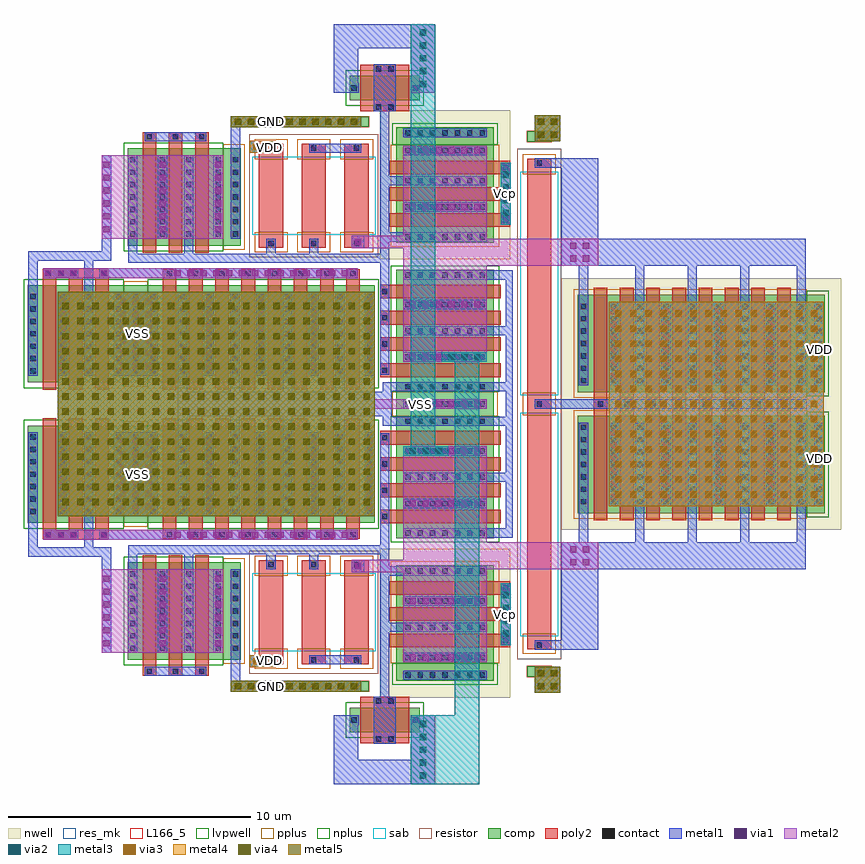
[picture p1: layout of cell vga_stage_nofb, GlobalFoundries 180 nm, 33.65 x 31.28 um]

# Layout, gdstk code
from math import pi, radians
import gdstk
lib = gdstk.Library(unit=1e-6, precision=1e-09)
def R(c, l, rs):  # rectangles x0, y0, x1, y1
    for r in rs: c.add(gdstk.rectangle(r[:2], r[2:], *l))
def A(c, l, x, y, w, h, nx, ny, dx, dy):  # array of equal rectangles
    R(c, l, [(x+i*dx, y+j*dy, x+i*dx+w, y+j*dy+h) for i in range(nx) for j in range(ny)])
nwell = (21, 0)
comp = (22, 0)
poly2 = (30, 0)
pplus = (31, 0)
nplus = (32, 0)
contact = (33, 0)
metal1 = (34, 0)
via1 = (35, 0)
metal2 = (36, 0)
via2 = (38, 0)
via3 = (40, 0)
via4 = (41, 0)
metal3 = (42, 0)
metal4 = (46, 0)
sab = (49, 0)
resistor = (62, 0)
metal5 = (81, 0)
res_mk = (110, 5)
L166_5 = (166, 5)
lvpwell = (204, 0)

via_dev_6 = lib.new_cell('via_dev$6')
R(via_dev_6, metal1, [(0,0,0.4,3.44)])
A(via_dev_6, via1, 0.07, 0.265, 0.26, 0.26, 1, 6, 0, 0.53)
R(via_dev_6, metal2, [(0,0,0.4,3.44)])

via_dev_11 = lib.new_cell('via_dev$11')
R(via_dev_11, metal2, [(0,0,0.4,1.85)])
A(via_dev_11, via2, 0.07, 0.265, 0.26, 0.26, 1, 3, 0, 0.53)
R(via_dev_11, metal3, [(0,0,0.4,1.85)])

via_dev_16 = lib.new_cell('via_dev$16')
R(via_dev_16, metal1, [(0,0,1.12,1.52)])
R(via_dev_16, via1, [(0.165,0.365,0.425,0.625), (0.695,0.365,0.955,0.625), (0.165,0.895,0.425,1.155), (0.695,0.895,0.955,1.155)])
R(via_dev_16, metal2, [(0,0,1.12,1.52)])

via_dev_8 = lib.new_cell('via_dev$8')
R(via_dev_8, metal1, [(0,0,3.44,0.4)])
A(via_dev_8, via1, 0.265, 0.07, 0.26, 0.26, 6, 1, 0.53, 0)
R(via_dev_8, metal2, [(0,0,3.44,0.4)])

via_dev_19 = lib.new_cell('via_dev$19')
R(via_dev_19, metal1, [(0,0,2.82,1)])
A(via_dev_19, via1, 0.22, 0.37, 0.26, 0.26, 5, 1, 0.53, 0)
R(via_dev_19, metal2, [(0,0,2.82,1)])
A(via_dev_19, via2, 0.22, 0.37, 0.26, 0.26, 5, 1, 0.53, 0)
R(via_dev_19, metal3, [(0,0,2.82,1)])

via_dev_66 = lib.new_cell('via_dev$66')
R(via_dev_66, metal1, [(0,0,0.44,5.36)])
A(via_dev_66, via1, 0.09, 0.165, 0.26, 0.26, 1, 10, 0, 0.53)
R(via_dev_66, metal2, [(0,0,0.44,5.36)])
A(via_dev_66, via2, 0.09, 0.165, 0.26, 0.26, 1, 10, 0, 0.53)
A(via_dev_66, via3, 0.09, 0.165, 0.26, 0.26, 1, 10, 0, 0.53)
A(via_dev_66, via4, 0.09, 0.165, 0.26, 0.26, 1, 10, 0, 0.53)
R(via_dev_66, metal3, [(0,0,0.44,5.36)])
R(via_dev_66, metal4, [(0,0,0.44,5.36)])
R(via_dev_66, metal5, [(0,0,0.44,5.36)])

via_dev_48 = lib.new_cell('via_dev$48')
R(via_dev_48, metal1, [(0,0,0.4,2.54)])
A(via_dev_48, via1, 0.07, 0.345, 0.26, 0.26, 1, 4, 0, 0.53)
R(via_dev_48, metal2, [(0,0,0.4,2.54)])
A(via_dev_48, via2, 0.07, 0.345, 0.26, 0.26, 1, 4, 0, 0.53)
R(via_dev_48, metal3, [(0,0,0.4,2.54)])

via_dev = lib.new_cell('via_dev')
R(via_dev, metal1, [(0,0,0.5,0.5)])
R(via_dev, via1, [(0.12,0.12,0.38,0.38)])
R(via_dev, metal2, [(0,0,0.5,0.5)])

via_dev_15 = lib.new_cell('via_dev$15')
R(via_dev_15, metal1, [(0,0,0.4,7.94)])
A(via_dev_15, via1, 0.07, 0.395, 0.26, 0.26, 1, 14, 0, 0.53)
R(via_dev_15, metal2, [(0,0,0.4,7.94)])

via_dev_20 = lib.new_cell('via_dev$20')
R(via_dev_20, metal1, [(0,0,3.44,1.82)])
A(via_dev_20, via1, 0.265, 0.25, 0.26, 0.26, 6, 3, 0.53, 0.53)
R(via_dev_20, metal2, [(0,0,3.44,1.82)])

via_dev_64 = lib.new_cell('via_dev$64')
R(via_dev_64, metal2, [(0,0,8.84,8.42)])
A(via_dev_64, via2, 0.26, 0.36, 0.26, 0.26, 14, 13, 0.62, 0.62)
A(via_dev_64, via3, 0.26, 0.36, 0.26, 0.26, 14, 13, 0.62, 0.62)
R(via_dev_64, metal3, [(0,0,8.84,8.42)])
R(via_dev_64, metal4, [(0,0,8.84,8.42)])

via_dev_33 = lib.new_cell('via_dev$33')
R(via_dev_33, metal1, [(0,0,0.5,1.06)])
R(via_dev_33, via1, [(0.12,0.135,0.38,0.395), (0.12,0.665,0.38,0.925)])
R(via_dev_33, metal2, [(0,0,0.5,1.06)])
R(via_dev_33, via2, [(0.12,0.135,0.38,0.395), (0.12,0.665,0.38,0.925)])
R(via_dev_33, via3, [(0.12,0.135,0.38,0.395), (0.12,0.665,0.38,0.925)])
R(via_dev_33, metal3, [(0,0,0.5,1.06)])
R(via_dev_33, metal4, [(0,0,0.5,1.06)])

via_dev_30 = lib.new_cell('via_dev$30')
R(via_dev_30, metal1, [(0,0,0.4,0.4)])
R(via_dev_30, via1, [(0.07,0.07,0.33,0.33)])
R(via_dev_30, metal2, [(0,0,0.4,0.4)])

via_dev_50 = lib.new_cell('via_dev$50')
R(via_dev_50, metal2, [(0,0,13.04,9.22)])
A(via_dev_50, via2, 0.19, 0.45, 0.26, 0.26, 21, 14, 0.62, 0.62)
A(via_dev_50, via3, 0.19, 0.45, 0.26, 0.26, 21, 14, 0.62, 0.62)
A(via_dev_50, via4, 0.19, 0.45, 0.26, 0.26, 21, 14, 0.62, 0.62)
R(via_dev_50, metal3, [(0,0,13.04,9.22)])
R(via_dev_50, metal4, [(0,0,13.04,9.22)])
R(via_dev_50, metal5, [(0,0,13.04,9.22)])

via_dev_49 = lib.new_cell('via_dev$49')
R(via_dev_49, metal1, [(0,0,1.06,1.06)])
R(via_dev_49, via1, [(0.135,0.135,0.395,0.395), (0.665,0.135,0.925,0.395), (0.135,0.665,0.395,0.925), (0.665,0.665,0.925,0.925)])
R(via_dev_49, metal2, [(0,0,1.06,1.06)])
R(via_dev_49, via2, [(0.135,0.135,0.395,0.395), (0.665,0.135,0.925,0.395), (0.135,0.665,0.395,0.925), (0.665,0.665,0.925,0.925)])
R(via_dev_49, via3, [(0.135,0.135,0.395,0.395), (0.665,0.135,0.925,0.395), (0.135,0.665,0.395,0.925), (0.665,0.665,0.925,0.925)])
R(via_dev_49, via4, [(0.135,0.135,0.395,0.395), (0.665,0.135,0.925,0.395), (0.135,0.665,0.395,0.925), (0.665,0.665,0.925,0.925)])
R(via_dev_49, metal3, [(0,0,1.06,1.06)])
R(via_dev_49, metal4, [(0,0,1.06,1.06)])
R(via_dev_49, metal5, [(0,0,1.06,1.06)])

cap_nmos = lib.new_cell('cap_nmos')
R(cap_nmos, comp, [(0,0,2.88,1)])
R(cap_nmos, poly2, [(0.44,-0.46,2.44,1.46)])
R(cap_nmos, nplus, [(-0.16,-0.23,3.04,1.23)])
R(cap_nmos, contact, [(1.075,-0.39,1.295,-0.17), (1.585,-0.39,1.805,-0.17), (0.07,0.39,0.29,0.61), (2.59,0.39,2.81,0.61), (1.075,1.17,1.295,1.39), (1.585,1.17,1.805,1.39)])
R(cap_nmos, metal1, [(-0.63,-2.13,3.53,-1.13), (-0.63,-1.13,0.37,0.69), (2.53,-1.13,3.53,0.69), (0.995,-0.47,1.885,-0.09), (0.995,-0.47,1.885,1.47), (-0.01,0.31,0.37,0.69), (2.51,0.31,2.89,0.69), (0.995,1.09,1.885,1.47)])
R(cap_nmos, L166_5, [(0,0,2.88,1)])
R(cap_nmos, lvpwell, [(0,0,2.88,1)])

pfet_4 = lib.new_cell('pfet$4')
R(pfet_4, nwell, [(-1.15,-0.69,10.38,4.69)])
R(pfet_4, comp, [(-0.46,0,0,4), (0,0,8.5,4), (8.5,0,8.96,4), (8.96,0,9.69,4)])
A(pfet_4, poly2, 0.19, -0.68, 0.56, 0.38, 8, 1, 1.08, 0)
A(pfet_4, poly2, 0.19, -0.3, 0.56, 4.6, 8, 1, 1.08, 0)
R(pfet_4, pplus, [(-0.63,-0.24,8.96,4.24)])
R(pfet_4, nplus, [(8.96,-0.17,9.86,4.17)])
A(pfet_4, contact, 0.36, -0.6, 0.22, 0.22, 8, 1, 1.08, 0)
A(pfet_4, contact, -0.34, 0.36, 0.22, 0.22, 1, 7, 0, 0.51)
A(pfet_4, contact, 0.9, 0.36, 0.22, 0.22, 7, 7, 1.08, 0.51)
A(pfet_4, contact, 8.62, 0.36, 0.22, 0.22, 1, 7, 0, 0.51)
A(pfet_4, contact, 9.35, 0.36, 0.22, 0.22, 1, 7, 0, 0.51)
A(pfet_4, metal1, 0.28, -0.68, 0.38, 0.38, 8, 1, 1.08, 0)
A(pfet_4, metal1, 0.82, 0.28, 0.38, 3.44, 7, 1, 1.08, 0)
R(pfet_4, metal1, [(-0.42,0.28,-0.04,3.72), (8.54,0.28,8.92,3.72), (9.27,0.28,9.65,3.72)])

pfet = lib.new_cell('pfet')
R(pfet, nwell, [(-1.15,-0.69,4.98,4.69)])
R(pfet, comp, [(-0.46,0,0,4), (0,0,3.1,4), (3.1,0,3.56,4), (3.56,0,4.29,4)])
A(pfet, poly2, 0.19, -0.68, 0.56, 0.38, 3, 1, 1.08, 0)
A(pfet, poly2, 0.19, -0.3, 0.56, 4.6, 3, 1, 1.08, 0)
R(pfet, pplus, [(-0.63,-0.24,3.56,4.24)])
R(pfet, nplus, [(3.56,-0.17,4.46,4.17)])
A(pfet, contact, 0.36, -0.6, 0.22, 0.22, 3, 1, 1.08, 0)
A(pfet, contact, -0.34, 0.36, 0.22, 0.22, 1, 7, 0, 0.51)
A(pfet, contact, 0.9, 0.36, 0.22, 0.22, 1, 7, 0, 0.51)
A(pfet, contact, 1.98, 0.36, 0.22, 0.22, 1, 7, 0, 0.51)
A(pfet, contact, 3.22, 0.36, 0.22, 0.22, 1, 7, 0, 0.51)
A(pfet, contact, 3.95, 0.36, 0.22, 0.22, 1, 7, 0, 0.51)
A(pfet, metal1, 0.28, -0.68, 0.38, 0.38, 3, 1, 1.08, 0)
R(pfet, metal1, [(-0.42,0.28,-0.04,3.72), (0.82,0.28,1.2,3.72), (1.9,0.28,2.28,3.72), (3.14,0.28,3.52,3.72), (3.87,0.28,4.25,3.72)])

pfet_6 = lib.new_cell('pfet$6')
R(pfet_6, nwell, [(-1.15,-0.69,10.38,4.69)])
R(pfet_6, comp, [(-0.46,0,0,4), (0,0,8.5,4), (8.5,0,8.96,4), (8.96,0,9.69,4)])
A(pfet_6, poly2, 0.19, -0.3, 0.56, 4.6, 8, 1, 1.08, 0)
A(pfet_6, poly2, 0.19, 4.3, 0.56, 0.38, 8, 1, 1.08, 0)
R(pfet_6, pplus, [(-0.63,-0.24,8.96,4.24)])
R(pfet_6, nplus, [(8.96,-0.17,9.86,4.17)])
A(pfet_6, contact, -0.34, 0.36, 0.22, 0.22, 1, 7, 0, 0.51)
A(pfet_6, contact, 0.9, 0.36, 0.22, 0.22, 7, 7, 1.08, 0.51)
A(pfet_6, contact, 8.62, 0.36, 0.22, 0.22, 1, 7, 0, 0.51)
A(pfet_6, contact, 9.35, 0.36, 0.22, 0.22, 1, 7, 0, 0.51)
A(pfet_6, contact, 0.36, 4.38, 0.22, 0.22, 8, 1, 1.08, 0)
A(pfet_6, metal1, 0.82, 0.28, 0.38, 3.44, 7, 1, 1.08, 0)
A(pfet_6, metal1, 0.28, 4.3, 0.38, 0.38, 8, 1, 1.08, 0)
R(pfet_6, metal1, [(-0.42,0.28,-0.04,3.72), (8.54,0.28,8.92,3.72), (9.27,0.28,9.65,3.72)])

ppolyf_u_high_rs_resisto = lib.new_cell('ppolyf_u_high_Rs_resistor$3')
R(ppolyf_u_high_rs_resisto, comp, [(-1.76,0,-1.34,1)])
R(ppolyf_u_high_rs_resisto, poly2, [(-0.64,0,9.64,1)])
R(ppolyf_u_high_rs_resisto, pplus, [(-0.82,-0.18,0,1.18), (9,-0.18,9.82,1.18), (-1.78,-0.02,-1.32,1.02)])
R(ppolyf_u_high_rs_resisto, contact, [(-1.66,0.39,-1.44,0.61), (-0.57,0.39,-0.35,0.61), (9.35,0.39,9.57,0.61)])
R(ppolyf_u_high_rs_resisto, metal1, [(-1.74,0.31,-1.36,0.69), (-0.65,0.31,-0.27,0.69), (9.27,0.31,9.65,0.69)])
R(ppolyf_u_high_rs_resisto, sab, [(-0.1,-0.28,9.1,1.28)])
R(ppolyf_u_high_rs_resisto, resistor, [(-1.04,-0.4,10.04,1.4)])
R(ppolyf_u_high_rs_resisto, res_mk, [(0,0,9,1)])

nfet_14 = lib.new_cell('nfet$14')
R(nfet_14, comp, [(-0.42,0,0,4), (0,0,3.1,4), (3.1,0,3.52,4), (3.52,0,4.23,4)])
A(nfet_14, poly2, 0.19, -0.3, 0.56, 4.6, 3, 1, 1.08, 0)
R(nfet_14, poly2, [(0.19,-0.68,2.91,-0.3)])
R(nfet_14, pplus, [(3.52,-0.17,4.4,4.17)])
R(nfet_14, nplus, [(-0.59,-0.24,3.52,4.24)])
A(nfet_14, contact, -0.32, 0.36, 0.22, 0.22, 1, 7, 0, 0.51)
A(nfet_14, contact, 0.9, 0.36, 0.22, 0.22, 1, 7, 0, 0.51)
A(nfet_14, contact, 1.98, 0.36, 0.22, 0.22, 1, 7, 0, 0.51)
A(nfet_14, contact, 3.2, 0.36, 0.22, 0.22, 1, 7, 0, 0.51)
A(nfet_14, contact, 3.91, 0.36, 0.22, 0.22, 1, 7, 0, 0.51)
R(nfet_14, metal1, [(-0.4,0.28,-0.02,3.72), (0.82,0.28,1.2,3.72), (1.9,0.28,2.28,3.72), (3.12,0.28,3.5,3.72), (3.83,0.28,4.21,3.72)])

nfet_11 = lib.new_cell('nfet$11')
R(nfet_11, comp, [(-0.42,0,0,4), (0,0,8.5,4), (8.5,0,8.92,4), (8.92,0,9.63,4)])
A(nfet_11, poly2, 0.19, -0.3, 0.56, 4.6, 8, 1, 1.08, 0)
A(nfet_11, poly2, 0.19, 4.3, 0.56, 0.36, 8, 1, 1.08, 0)
R(nfet_11, pplus, [(8.92,-0.17,9.8,4.17)])
R(nfet_11, nplus, [(-0.59,-0.24,8.92,4.24)])
A(nfet_11, contact, -0.32, 0.36, 0.22, 0.22, 1, 7, 0, 0.51)
A(nfet_11, contact, 0.9, 0.36, 0.22, 0.22, 7, 7, 1.08, 0.51)
A(nfet_11, contact, 8.6, 0.36, 0.22, 0.22, 1, 7, 0, 0.51)
A(nfet_11, contact, 9.31, 0.36, 0.22, 0.22, 1, 7, 0, 0.51)
A(nfet_11, contact, 0.36, 4.37, 0.22, 0.22, 8, 1, 1.08, 0)
A(nfet_11, metal1, 0.82, 0.28, 0.38, 3.44, 7, 1, 1.08, 0)
A(nfet_11, metal1, 0.28, 4.29, 0.38, 0.38, 8, 1, 1.08, 0)
R(nfet_11, metal1, [(-0.4,0.28,-0.02,3.72), (8.52,0.28,8.9,3.72), (9.23,0.28,9.61,3.72)])

nfet_1 = lib.new_cell('nfet$1')
R(nfet_1, comp, [(-0.42,0,0,4), (0,0,3.1,4), (3.1,0,3.52,4), (3.52,0,4.23,4)])
A(nfet_1, poly2, 0.19, -0.3, 0.56, 4.6, 3, 1, 1.08, 0)
A(nfet_1, poly2, 0.19, 4.3, 0.56, 0.36, 3, 1, 1.08, 0)
R(nfet_1, pplus, [(3.52,-0.17,4.4,4.17)])
R(nfet_1, nplus, [(-0.59,-0.24,3.52,4.24)])
A(nfet_1, contact, -0.32, 0.36, 0.22, 0.22, 1, 7, 0, 0.51)
A(nfet_1, contact, 0.9, 0.36, 0.22, 0.22, 1, 7, 0, 0.51)
A(nfet_1, contact, 1.98, 0.36, 0.22, 0.22, 1, 7, 0, 0.51)
A(nfet_1, contact, 3.2, 0.36, 0.22, 0.22, 1, 7, 0, 0.51)
A(nfet_1, contact, 3.91, 0.36, 0.22, 0.22, 1, 7, 0, 0.51)
A(nfet_1, contact, 0.36, 4.37, 0.22, 0.22, 3, 1, 1.08, 0)
A(nfet_1, metal1, 0.28, 4.29, 0.38, 0.38, 3, 1, 1.08, 0)
R(nfet_1, metal1, [(-0.4,0.28,-0.02,3.72), (0.82,0.28,1.2,3.72), (1.9,0.28,2.28,3.72), (3.12,0.28,3.5,3.72), (3.83,0.28,4.21,3.72)])

c_ppolyf_u_high_rs_resisto = lib.new_cell('ppolyf_u_high_Rs_resistor')
R(c_ppolyf_u_high_rs_resisto, comp, [(-1.76,0,-1.34,1)])
R(c_ppolyf_u_high_rs_resisto, poly2, [(-0.64,0,3.64,1)])
R(c_ppolyf_u_high_rs_resisto, pplus, [(-0.82,-0.18,0,1.18), (3,-0.18,3.82,1.18), (-1.78,-0.02,-1.32,1.02)])
R(c_ppolyf_u_high_rs_resisto, contact, [(-1.66,0.39,-1.44,0.61), (-0.57,0.39,-0.35,0.61), (3.35,0.39,3.57,0.61)])
R(c_ppolyf_u_high_rs_resisto, metal1, [(-1.74,0.31,-1.36,0.69), (-0.65,0.31,-0.27,0.69), (3.27,0.31,3.65,0.69)])
R(c_ppolyf_u_high_rs_resisto, sab, [(-0.1,-0.28,3.1,1.28)])
R(c_ppolyf_u_high_rs_resisto, resistor, [(-1.04,-0.4,4.04,1.4)])
R(c_ppolyf_u_high_rs_resisto, res_mk, [(0,0,3,1)])

nfet = lib.new_cell('nfet')
R(nfet, comp, [(-0.42,0,0,4), (0,0,4.18,4), (4.18,0,4.6,4), (4.6,0,5.31,4)])
A(nfet, poly2, 0.19, -0.3, 0.56, 4.6, 4, 1, 1.08, 0)
A(nfet, poly2, 0.19, 4.3, 0.56, 0.36, 4, 1, 1.08, 0)
R(nfet, pplus, [(4.6,-0.17,5.48,4.17)])
R(nfet, nplus, [(-0.59,-0.24,4.6,4.24)])
A(nfet, contact, -0.32, 0.36, 0.22, 0.22, 1, 7, 0, 0.51)
A(nfet, contact, 0.9, 0.36, 0.22, 0.22, 3, 7, 1.08, 0.51)
A(nfet, contact, 4.28, 0.36, 0.22, 0.22, 1, 7, 0, 0.51)
A(nfet, contact, 4.99, 0.36, 0.22, 0.22, 1, 7, 0, 0.51)
A(nfet, contact, 0.36, 4.37, 0.22, 0.22, 4, 1, 1.08, 0)
A(nfet, metal1, 0.82, 0.28, 0.38, 3.44, 3, 1, 1.08, 0)
A(nfet, metal1, 0.28, 4.29, 0.38, 0.38, 4, 1, 1.08, 0)
R(nfet, metal1, [(-0.4,0.28,-0.02,3.72), (4.2,0.28,4.58,3.72), (4.91,0.28,5.29,3.72)])

vga_stage_nofb = lib.new_cell('vga_stage_nofb')
A(vga_stage_nofb, contact, 0.9, 9.89, 0.22, 0.22, 3, 2, 0.52, 10.76)
R(vga_stage_nofb, contact, [(3.19,9.89,3.41,10.11), (3.19,20.65,3.41,20.87)])
A(vga_stage_nofb, metal1, 25.17, 9.69, 0.38, 1.48, 3, 2, 2.16, 9.9)
A(vga_stage_nofb, metal1, 19.06, 9.88, 0.79, 0.38, 1, 3, 0, 2.3)
A(vga_stage_nofb, metal1, 6.35, 14.21, 0.38, 2.34, 4, 1, 2.16, 0)
A(vga_stage_nofb, metal1, 19.06, 15.9, 0.79, 0.38, 1, 3, 0, 2.3)
R(vga_stage_nofb, metal1, [(14.67,3.34,15.05,13.8), (8.53,3.98,8.91,5.14), (5.36,4.19,7.14,4.57), (12.13,4.66,13.51,5.04), (21.41,5.27,22.12,5.65), (22.12,5.27,23.64,8.57), (19.64,5.46,20.02,8), (15.05,6,15.62,6.38), (15.05,8.32,15.62,8.7), (23.64,8.57,32.19,9.69), (3.21,8.58,3.61,9.1), (4.3,8.58,4.68,9.19), (6.6,8.58,6.98,9.19), (9.99,8.96,10.37,9.19), (11.75,8.96,12.13,9.19), (0.19,9.1,3.61,9.48), (4.3,9.19,14.67,9.57), (0.19,9.48,0.57,10.77), (2.49,9.48,2.87,10.77), (22.85,9.69,23.23,11.17), (31.81,9.69,32.19,11.17), (1.21,9.8,1.33,10.2), (1.73,9.8,1.85,10.2), (3.5,9.8,5.81,10.2), (19.85,9.88,20.13,20.88), (14.77,14.48,15.15,16.28), (15.15,14.48,15.62,14.86), (6.73,14.88,14.77,15.88), (21.03,15.19,32.22,15.57), (15.15,15.9,15.62,16.28), (14.67,16.96,15.05,27.42), (22.85,19.59,23.23,21.07), (31.81,19.59,32.19,21.07), (0.19,19.99,0.57,21.28), (2.49,19.99,2.87,21.28), (1.21,20.56,1.33,20.96), (1.73,20.56,1.85,20.96), (3.5,20.56,5.81,20.96), (23.64,21.07,32.19,22.19), (4.3,21.19,14.67,21.57), (0.19,21.28,3.61,21.66), (4.3,21.57,4.68,22.18), (6.6,21.57,6.98,22.18), (9.99,21.57,10.37,21.8), (11.75,21.57,12.13,21.8), (3.21,21.66,3.61,22.18), (15.05,22.06,15.62,22.44), (22.12,22.19,23.64,25.49), (19.64,22.76,20.02,25.3), (15.05,24.38,15.62,24.76), (21.41,25.11,22.12,25.49), (8.53,25.62,8.91,26.78), (12.13,25.72,13.51,26.1), (5.36,26.19,7.14,26.57)])
R(vga_stage_nofb, metal2, [(3.61,5.14,7.81,8.58), (15.62,5.15,19.06,13.65), (14.01,8.46,15.62,8.96), (19.06,8.57,22.12,9.69), (1.21,9.8,5.81,10.2), (1.8,10.77,14.44,14.21), (14.04,14.21,14.44,16.55), (14.44,15.18,15.62,15.58), (1.8,16.55,14.44,19.99), (15.62,17.11,19.06,25.61), (1.21,20.56,5.81,20.96), (19.06,21.07,22.12,22.19), (14.01,21.8,15.62,22.3), (3.61,22.18,7.81,25.62)])
R(vga_stage_nofb, metal3, [(16.93,-0.26,18.75,2.56), (17.75,2.56,18.75,17.11), (15.93,13.65,16.93,28.2)])
R(vga_stage_nofb, sab, [(10.96,5.21,11.16,8.41), (12.72,5.21,12.92,8.41), (10.96,22.35,11.16,25.55), (12.72,22.35,12.92,25.55)])
vga_stage_nofb.add(gdstk.Reference(via_dev_6, (15.62,13.25), rotation=pi/2, x_reflection=True))
vga_stage_nofb.add(gdstk.Reference(via_dev_11, (15.62,13.25), rotation=pi/2, x_reflection=True))
vga_stage_nofb.add(gdstk.Reference(via_dev_16, (22.12,8.57), rotation=pi/2, x_reflection=True))
vga_stage_nofb.add(gdstk.Reference(via_dev_6, (15.62,11.09), rotation=pi/2, x_reflection=True))
vga_stage_nofb.add(gdstk.Reference(via_dev_8, (28.4,14.61), rotation=3*pi/2))
vga_stage_nofb.add(gdstk.Reference(via_dev_8, (28.4,19.59), rotation=3*pi/2))
vga_stage_nofb.add(gdstk.Reference(via_dev_8, (30.56,14.61), rotation=3*pi/2))
vga_stage_nofb.add(gdstk.Reference(via_dev_8, (26.24,14.61), rotation=3*pi/2))
vga_stage_nofb.add(gdstk.Reference(via_dev_8, (26.24,19.59), rotation=3*pi/2))
vga_stage_nofb.add(gdstk.Reference(via_dev_6, (15.62,7.47), rotation=3*pi/2))
vga_stage_nofb.add(gdstk.Reference(via_dev_6, (15.62,5.15), rotation=3*pi/2))
vga_stage_nofb.add(gdstk.Reference(via_dev_19, (15.93,2.56), rotation=3*pi/2))
vga_stage_nofb.add(gdstk.Reference(via_dev_6, (15.62,23.69), rotation=3*pi/2))
vga_stage_nofb.add(gdstk.Reference(via_dev_6, (15.62,17.51), rotation=3*pi/2))
vga_stage_nofb.add(gdstk.Reference(via_dev_19, (15.93,31.02), rotation=3*pi/2))
vga_stage_nofb.add(gdstk.Reference(via_dev_11, (17.21,17.11), rotation=pi/2, x_reflection=True))
vga_stage_nofb.add(gdstk.Reference(via_dev_8, (30.56,19.59), rotation=3*pi/2))
vga_stage_nofb.add(gdstk.Reference(via_dev_8, (24.08,14.61), rotation=3*pi/2))
vga_stage_nofb.add(gdstk.Reference(via_dev_8, (24.08,19.59), rotation=3*pi/2))
vga_stage_nofb.add(gdstk.Reference(via_dev_6, (15.62,19.67), rotation=3*pi/2))
vga_stage_nofb.add(gdstk.Reference(via_dev_6, (15.62,26.01), rotation=3*pi/2))
vga_stage_nofb.add(gdstk.Reference(via_dev_16, (22.12,22.19), rotation=3*pi/2))
vga_stage_nofb.add(gdstk.Reference(via_dev_8, (5.91,5.14), rotation=pi/2))
vga_stage_nofb.add(gdstk.Reference(via_dev_66, (8.53,3.98), rotation=3*pi/2))
vga_stage_nofb.add(gdstk.Reference(via_dev_8, (11.74,14.21), rotation=3*pi/2))
vga_stage_nofb.add(gdstk.Reference(via_dev_48, (19.64,22.76)))
vga_stage_nofb.add(gdstk.Reference(via_dev_48, (19.64,5.46)))
vga_stage_nofb.add(gdstk.Reference(via_dev, (13.51,22.3), rotation=3*pi/2))
vga_stage_nofb.add(gdstk.Reference(via_dev_8, (5.91,25.62), rotation=3*pi/2, x_reflection=True))
vga_stage_nofb.add(gdstk.Reference(via_dev_66, (8.53,26.78), rotation=pi/2, x_reflection=True))
vga_stage_nofb.add(gdstk.Reference(via_dev_15, (5.81,20.96), rotation=3*pi/2))
vga_stage_nofb.add(gdstk.Reference(via_dev_8, (3.61,5.14), rotation=pi/2))
vga_stage_nofb.add(gdstk.Reference(via_dev_8, (8.21,5.14), rotation=pi/2))
vga_stage_nofb.add(gdstk.Reference(via_dev, (13.51,8.46), rotation=pi/2, x_reflection=True))
vga_stage_nofb.add(gdstk.Reference(via_dev_15, (5.81,10.2), rotation=3*pi/2))
vga_stage_nofb.add(gdstk.Reference(via_dev_6, (19.06,15.58), rotation=3*pi/2, x_reflection=True))
vga_stage_nofb.add(gdstk.Reference(via_dev_8, (1.4,19.99), rotation=3*pi/2))
vga_stage_nofb.add(gdstk.Reference(via_dev_20, (3.7,19.99), rotation=3*pi/2))
vga_stage_nofb.add(gdstk.Reference(via_dev_8, (7.42,19.99), rotation=3*pi/2))
vga_stage_nofb.add(gdstk.Reference(via_dev_8, (9.58,19.99), rotation=3*pi/2))
vga_stage_nofb.add(gdstk.Reference(via_dev_8, (11.74,19.99), rotation=3*pi/2))
vga_stage_nofb.add(gdstk.Reference(via_dev_8, (14.04,19.99), rotation=3*pi/2))
vga_stage_nofb.add(gdstk.Reference(via_dev_8, (14.04,14.21), rotation=3*pi/2))
vga_stage_nofb.add(gdstk.Reference(via_dev_8, (9.58,14.21), rotation=3*pi/2))
vga_stage_nofb.add(gdstk.Reference(via_dev_8, (7.42,14.21), rotation=3*pi/2))
vga_stage_nofb.add(gdstk.Reference(via_dev_20, (3.7,14.21), rotation=3*pi/2))
vga_stage_nofb.add(gdstk.Reference(via_dev_8, (1.4,14.21), rotation=3*pi/2))
vga_stage_nofb.add(gdstk.Reference(via_dev_64, (24.08,11.17)))
vga_stage_nofb.add(gdstk.Reference(via_dev_33, (9.31,26.22), rotation=3*pi/2))
vga_stage_nofb.add(gdstk.Reference(via_dev_33, (9.31,5.04), rotation=3*pi/2))
vga_stage_nofb.add(gdstk.Reference(via_dev_30, (3.1,20.56)))
vga_stage_nofb.add(gdstk.Reference(via_dev_8, (3.61,25.62), rotation=3*pi/2, x_reflection=True))
vga_stage_nofb.add(gdstk.Reference(via_dev_30, (1.85,20.56)))
vga_stage_nofb.add(gdstk.Reference(via_dev_30, (1.33,20.56)))
vga_stage_nofb.add(gdstk.Reference(via_dev_8, (8.21,25.62), rotation=3*pi/2, x_reflection=True))
vga_stage_nofb.add(gdstk.Reference(via_dev_30, (0.81,20.56)))
vga_stage_nofb.add(gdstk.Reference(via_dev_30, (3.1,9.8)))
vga_stage_nofb.add(gdstk.Reference(via_dev_30, (1.85,9.8)))
vga_stage_nofb.add(gdstk.Reference(via_dev_30, (1.33,9.8)))
vga_stage_nofb.add(gdstk.Reference(via_dev_30, (0.81,9.8)))
vga_stage_nofb.add(gdstk.Reference(via_dev_50, (1.4,10.77)))
vga_stage_nofb.add(gdstk.Reference(via_dev_49, (21.03,3.5)))
vga_stage_nofb.add(gdstk.Reference(via_dev_49, (21.03,26.2)))
vga_stage_nofb.add(gdstk.Reference(cap_nmos, (16.3,1.87), rotation=pi, x_reflection=True))
vga_stage_nofb.add(gdstk.Reference(cap_nmos, (16.3,28.89), rotation=pi))
vga_stage_nofb.add(gdstk.Reference(pfet_4, (23.27,15.87)))
vga_stage_nofb.add(gdstk.Reference(pfet, (19.34,8.28), rotation=3*pi/2, x_reflection=True))
vga_stage_nofb.add(gdstk.Reference(pfet, (19.34,22.48), rotation=pi/2))
vga_stage_nofb.add(gdstk.Reference(pfet_6, (23.27,10.89)))
vga_stage_nofb.add(gdstk.Reference(ppolyf_u_high_rs_resisto, (20.72,24.84), rotation=3*pi/2))
vga_stage_nofb.add(gdstk.Reference(ppolyf_u_high_rs_resisto, (21.72,5.92), rotation=pi/2))
vga_stage_nofb.add(gdstk.Reference(nfet_14, (0.59,10.49)))
vga_stage_nofb.add(gdstk.Reference(nfet_11, (14.03,14.49), rotation=pi))
vga_stage_nofb.add(gdstk.Reference(nfet_1, (4.7,8.86), x_reflection=True))
vga_stage_nofb.add(gdstk.Reference(nfet_1, (4.7,21.9)))
vga_stage_nofb.add(gdstk.Reference(c_ppolyf_u_high_rs_resisto, (11.44,5.31), rotation=pi/2, x_reflection=True))
vga_stage_nofb.add(gdstk.Reference(c_ppolyf_u_high_rs_resisto, (9.68,5.31), rotation=pi/2, x_reflection=True))
vga_stage_nofb.add(gdstk.Reference(c_ppolyf_u_high_rs_resisto, (13.2,5.31), rotation=pi/2, x_reflection=True))
vga_stage_nofb.add(gdstk.Reference(c_ppolyf_u_high_rs_resisto, (9.68,25.45), rotation=3*pi/2))
vga_stage_nofb.add(gdstk.Reference(c_ppolyf_u_high_rs_resisto, (13.2,25.45), rotation=3*pi/2))
vga_stage_nofb.add(gdstk.Reference(c_ppolyf_u_high_rs_resisto, (11.44,25.45), rotation=3*pi/2))
vga_stage_nofb.add(gdstk.Reference(nfet_11, (14.03,16.27), rotation=pi, x_reflection=True))
vga_stage_nofb.add(gdstk.Reference(nfet, (19.34,10.28), rotation=pi/2))
vga_stage_nofb.add(gdstk.Reference(nfet, (19.34,20.48), rotation=3*pi/2, x_reflection=True))
vga_stage_nofb.add(gdstk.Reference(nfet_14, (0.59,20.27), x_reflection=True))
vga_stage_nofb.add(gdstk.Label('VSS', (16.351,15.351), layer=34, texttype=10))
vga_stage_nofb.add(gdstk.Label('Vcp', (19.841,6.731), layer=34, texttype=10))
vga_stage_nofb.add(gdstk.Label('Vcp', (19.841,24.031), layer=34, texttype=10))
vga_stage_nofb.add(gdstk.Label('VDD', (32.751,17.611), layer=34, texttype=10))
vga_stage_nofb.add(gdstk.Label('VDD', (32.751,13.151), layer=34, texttype=10))
vga_stage_nofb.add(gdstk.Label('GND', (10.191,3.751), layer=34, texttype=10))
vga_stage_nofb.add(gdstk.Label('GND', (10.191,27.001), layer=34, texttype=10))
vga_stage_nofb.add(gdstk.Label('VSS', (4.681,12.491), layer=34, texttype=10))
vga_stage_nofb.add(gdstk.Label('VSS', (4.681,18.271), layer=34, texttype=10))
vga_stage_nofb.add(gdstk.Label('VDD', (10.111,4.841), layer=34, texttype=10))
vga_stage_nofb.add(gdstk.Label('VDD', (10.111,25.921), layer=34, texttype=10))

lib.write_gds('vga_stage_nofb.gds')
